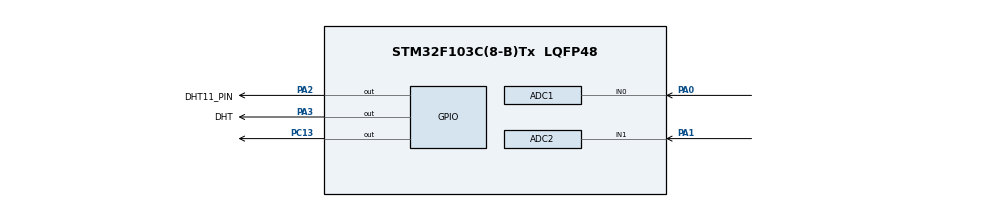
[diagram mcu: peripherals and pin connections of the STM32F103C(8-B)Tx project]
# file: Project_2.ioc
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ADC1.Channel-4\#ChannelRegularConversion=ADC_CHANNEL_0
ADC1.NbrOfConversionFlag=1
ADC1.Rank-4\#ChannelRegularConversion=1
ADC1.SamplingTime-4\#ChannelRegularConversion=ADC_SAMPLETIME_13CYCLES_5
ADC1.master=1
ADC2.Channel-1\#ChannelRegularConversion=ADC_CHANNEL_1
ADC2.NbrOfConversionFlag=1
ADC2.Rank-1\#ChannelRegularConversion=1
ADC2.SamplingTime-1\#ChannelRegularConversion=ADC_SAMPLETIME_13CYCLES_5
Mcu.Family=STM32F1
Mcu.Name=STM32F103C(8-B)Tx
Mcu.Package=LQFP48
NVIC.PriorityGroup=NVIC_PRIORITYGROUP_4
PA0-WKUP.Signal=ADCx_IN0
PA1.Signal=ADCx_IN1
PA13.Mode=Serial_Wire
PA13.Signal=SYS_JTMS-SWDIO
PA14.Mode=Serial_Wire
PA14.Signal=SYS_JTCK-SWCLK
PA2.GPIO_Label=DHT11_PIN
PA2.Signal=GPIO_Output
PA3.GPIO_Label=DHT
PA3.Signal=GPIO_Output
PC13-TAMPER-RTC.Signal=GPIO_Output
ProjectManager.HeapSize=0x200
ProjectManager.StackSize=0x400
ProjectManager.TargetToolchain=STM32CubeIDE
RCC.APB1Freq_Value=8000000
RCC.APB2Freq_Value=8000000
SH.ADCx_IN0.0=ADC1_IN0,IN0
SH.ADCx_IN1.0=ADC2_IN1,IN1
TIM1.Prescaler=8
TIM2.Prescaler=8
TIM3.Prescaler=7
TIM4.Prescaler=7
VP_TIM1_VS_ClockSourceINT.Mode=Internal
VP_TIM2_VS_ClockSourceINT.Mode=Internal
VP_TIM3_VS_ClockSourceINT.Mode=Internal
VP_TIM4_VS_ClockSourceINT.Mode=Internal
board=custom

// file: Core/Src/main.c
/* USER CODE BEGIN Header */
/**
 ******************************************************************************
 * @file           : main.c
 * @brief          : Main program body
 ******************************************************************************
 * @attention
 *
 * Copyright (c) 2024 STMicroelectronics.
 * All rights reserved.
 *
 * This software is licensed under terms that can be found in the LICENSE file
 * in the root directory of this software component.
 * If no LICENSE file comes with this software, it is provided AS-IS.
 *
 ******************************************************************************
 */
/* USER CODE END Header */
#include "main.h"

/* USER CODE BEGIN Includes */
#include "gpio.h"
#include "timer.h"
#include "DHT.h"
/* USER CODE END Includes */

ADC_HandleTypeDef hadc1;
ADC_HandleTypeDef hadc2;

TIM_HandleTypeDef htim1;
TIM_HandleTypeDef htim2;
TIM_HandleTypeDef htim3;
TIM_HandleTypeDef htim4;

void SystemClock_Config(void);
static void MX_GPIO_Init(void);
static void MX_TIM4_Init(void);
static void MX_TIM1_Init(void);
static void MX_TIM2_Init(void);
static void MX_TIM3_Init(void);
static void MX_ADC1_Init(void);
static void MX_ADC2_Init(void);
/* USER CODE BEGIN PFP */

//uint16_t adc_read(ADC_HandleTypeDef *Adc_x){
//	  HAL_ADC_Start(&hadc1); // start the adc
//
//	  HAL_ADC_PollForConversion(&hadc1, 100); // poll for conversion
//
//	  adc_val = HAL_ADC_GetValue(&hadc1); // get the adc value
//
//	  HAL_ADC_Stop(&hadc1); // stop adc
//}

/* USER CODE END PFP */

/* USER CODE BEGIN 0 */

uint32_t value[3];
dht11_t dht;
float humi, temp;
//void Read_DataDht(){
//	DHT_GetData(&Dht11Data);
//	temp = Dht11Data.Temperature;
//	humi = Dht11Data.Humidity;
//}
/* USER CODE END 0 */

int main(void)
{

  /* MCU Configuration--------------------------------------------------------*/

  /* Reset of all peripherals, Initializes the Flash interface and the Systick. */
  HAL_Init();

  /* Configure the system clock */
  SystemClock_Config();

  /* Initialize all configured peripherals */
  MX_GPIO_Init();
  MX_TIM4_Init();
  MX_TIM1_Init();
  MX_TIM2_Init();
  MX_TIM3_Init();
  MX_ADC1_Init();
  MX_ADC2_Init();
  /* USER CODE BEGIN 2 */
	HAL_TIM_Base_Start(&htim4);
	HAL_TIM_Base_Start(&htim3);
//	HAL_TIM_Base_Start(&htim2);
//	HAL_TIM_Base_Start(&htim1);
  	timer_init(&htim3);

	init_dht11(&dht, &htim4, GPIOA, DHT_Pin);
	struct PinSetup test;
//
	test.GPIOx = GPIOC;
	test.Pin = GPIO_PIN_13;
	pinMode(&test, OUTPUT);
//	timer_init(&htim4);

  /* USER CODE END 2 */

  /* Infinite loop */
  /* USER CODE BEGIN WHILE */
	uint16_t tick = HAL_GetTick();
	while (1) {
		uint16_t current_tick = HAL_GetTick();
		if(current_tick - tick >= 1000){
		readDHT11(&dht);

		current_tick = tick;
		}
    /* USER CODE END WHILE */

	}
}

void SystemClock_Config(void)
{
  RCC_OscInitTypeDef RCC_OscInitStruct = {0};
  RCC_ClkInitTypeDef RCC_ClkInitStruct = {0};
  RCC_PeriphCLKInitTypeDef PeriphClkInit = {0};

  /** Initializes the RCC Oscillators according to the specified parameters
  * in the RCC_OscInitTypeDef structure.
  */
  RCC_OscInitStruct.OscillatorType = RCC_OSCILLATORTYPE_HSI;
  RCC_OscInitStruct.HSIState = RCC_HSI_ON;
  RCC_OscInitStruct.HSICalibrationValue = RCC_HSICALIBRATION_DEFAULT;
  RCC_OscInitStruct.PLL.PLLState = RCC_PLL_NONE;
  if (HAL_RCC_OscConfig(&RCC_OscInitStruct) != HAL_OK)
  {
    Error_Handler();
  }

  /** Initializes the CPU, AHB and APB buses clocks
  */
  RCC_ClkInitStruct.ClockType = RCC_CLOCKTYPE_HCLK|RCC_CLOCKTYPE_SYSCLK
                              |RCC_CLOCKTYPE_PCLK1|RCC_CLOCKTYPE_PCLK2;
  RCC_ClkInitStruct.SYSCLKSource = RCC_SYSCLKSOURCE_HSI;
  RCC_ClkInitStruct.AHBCLKDivider = RCC_SYSCLK_DIV1;
  RCC_ClkInitStruct.APB1CLKDivider = RCC_HCLK_DIV1;
  RCC_ClkInitStruct.APB2CLKDivider = RCC_HCLK_DIV1;

  if (HAL_RCC_ClockConfig(&RCC_ClkInitStruct, FLASH_LATENCY_0) != HAL_OK)
  {
    Error_Handler();
  }
  PeriphClkInit.PeriphClockSelection = RCC_PERIPHCLK_ADC;
  PeriphClkInit.AdcClockSelection = RCC_ADCPCLK2_DIV2;
  if (HAL_RCCEx_PeriphCLKConfig(&PeriphClkInit) != HAL_OK)
  {
    Error_Handler();
  }
}

static void MX_ADC1_Init(void)
{

  ADC_ChannelConfTypeDef sConfig = {0};

  /** Common config
  */
  hadc1.Instance = ADC1;
  hadc1.Init.ScanConvMode = ADC_SCAN_DISABLE;
  hadc1.Init.ContinuousConvMode = DISABLE;
  hadc1.Init.DiscontinuousConvMode = DISABLE;
  hadc1.Init.ExternalTrigConv = ADC_SOFTWARE_START;
  hadc1.Init.DataAlign = ADC_DATAALIGN_RIGHT;
  hadc1.Init.NbrOfConversion = 1;
  if (HAL_ADC_Init(&hadc1) != HAL_OK)
  {
    Error_Handler();
  }

  /** Configure Regular Channel
  */
  sConfig.Channel = ADC_CHANNEL_0;
  sConfig.Rank = ADC_REGULAR_RANK_1;
  sConfig.SamplingTime = ADC_SAMPLETIME_13CYCLES_5;
  if (HAL_ADC_ConfigChannel(&hadc1, &sConfig) != HAL_OK)
  {
    Error_Handler();
  }

}

static void MX_ADC2_Init(void)
{

  ADC_ChannelConfTypeDef sConfig = {0};

  /** Common config
  */
  hadc2.Instance = ADC2;
  hadc2.Init.ScanConvMode = ADC_SCAN_DISABLE;
  hadc2.Init.ContinuousConvMode = DISABLE;
  hadc2.Init.DiscontinuousConvMode = DISABLE;
  hadc2.Init.ExternalTrigConv = ADC_SOFTWARE_START;
  hadc2.Init.DataAlign = ADC_DATAALIGN_RIGHT;
  hadc2.Init.NbrOfConversion = 1;
  if (HAL_ADC_Init(&hadc2) != HAL_OK)
  {
    Error_Handler();
  }

  /** Configure Regular Channel
  */
  sConfig.Channel = ADC_CHANNEL_1;
  sConfig.Rank = ADC_REGULAR_RANK_1;
  sConfig.SamplingTime = ADC_SAMPLETIME_13CYCLES_5;
  if (HAL_ADC_ConfigChannel(&hadc2, &sConfig) != HAL_OK)
  {
    Error_Handler();
  }

}

static void MX_TIM1_Init(void)
{

  TIM_ClockConfigTypeDef sClockSourceConfig = {0};
  TIM_MasterConfigTypeDef sMasterConfig = {0};

  htim1.Instance = TIM1;
  htim1.Init.Prescaler = 8;
  htim1.Init.CounterMode = TIM_COUNTERMODE_UP;
  htim1.Init.Period = 65535;
  htim1.Init.ClockDivision = TIM_CLOCKDIVISION_DIV1;
  htim1.Init.RepetitionCounter = 0;
  htim1.Init.AutoReloadPreload = TIM_AUTORELOAD_PRELOAD_DISABLE;
  if (HAL_TIM_Base_Init(&htim1) != HAL_OK)
  {
    Error_Handler();
  }
  sClockSourceConfig.ClockSource = TIM_CLOCKSOURCE_INTERNAL;
  if (HAL_TIM_ConfigClockSource(&htim1, &sClockSourceConfig) != HAL_OK)
  {
    Error_Handler();
  }
  sMasterConfig.MasterOutputTrigger = TIM_TRGO_RESET;
  sMasterConfig.MasterSlaveMode = TIM_MASTERSLAVEMODE_DISABLE;
  if (HAL_TIMEx_MasterConfigSynchronization(&htim1, &sMasterConfig) != HAL_OK)
  {
    Error_Handler();
  }

}

static void MX_TIM2_Init(void)
{

  TIM_ClockConfigTypeDef sClockSourceConfig = {0};
  TIM_MasterConfigTypeDef sMasterConfig = {0};

  htim2.Instance = TIM2;
  htim2.Init.Prescaler = 8;
  htim2.Init.CounterMode = TIM_COUNTERMODE_UP;
  htim2.Init.Period = 65535;
  htim2.Init.ClockDivision = TIM_CLOCKDIVISION_DIV1;
  htim2.Init.AutoReloadPreload = TIM_AUTORELOAD_PRELOAD_DISABLE;
  if (HAL_TIM_Base_Init(&htim2) != HAL_OK)
  {
    Error_Handler();
  }
  sClockSourceConfig.ClockSource = TIM_CLOCKSOURCE_INTERNAL;
  if (HAL_TIM_ConfigClockSource(&htim2, &sClockSourceConfig) != HAL_OK)
  {
    Error_Handler();
  }
  sMasterConfig.MasterOutputTrigger = TIM_TRGO_RESET;
  sMasterConfig.MasterSlaveMode = TIM_MASTERSLAVEMODE_DISABLE;
  if (HAL_TIMEx_MasterConfigSynchronization(&htim2, &sMasterConfig) != HAL_OK)
  {
    Error_Handler();
  }

}

static void MX_TIM3_Init(void)
{

  TIM_ClockConfigTypeDef sClockSourceConfig = {0};
  TIM_MasterConfigTypeDef sMasterConfig = {0};

  htim3.Instance = TIM3;
  htim3.Init.Prescaler = 7;
  htim3.Init.CounterMode = TIM_COUNTERMODE_UP;
  htim3.Init.Period = 65535;
  htim3.Init.ClockDivision = TIM_CLOCKDIVISION_DIV1;
  htim3.Init.AutoReloadPreload = TIM_AUTORELOAD_PRELOAD_DISABLE;
  if (HAL_TIM_Base_Init(&htim3) != HAL_OK)
  {
    Error_Handler();
  }
  sClockSourceConfig.ClockSource = TIM_CLOCKSOURCE_INTERNAL;
  if (HAL_TIM_ConfigClockSource(&htim3, &sClockSourceConfig) != HAL_OK)
  {
    Error_Handler();
  }
  sMasterConfig.MasterOutputTrigger = TIM_TRGO_RESET;
  sMasterConfig.MasterSlaveMode = TIM_MASTERSLAVEMODE_DISABLE;
  if (HAL_TIMEx_MasterConfigSynchronization(&htim3, &sMasterConfig) != HAL_OK)
  {
    Error_Handler();
  }

}

static void MX_TIM4_Init(void)
{

  TIM_ClockConfigTypeDef sClockSourceConfig = {0};
  TIM_MasterConfigTypeDef sMasterConfig = {0};

  htim4.Instance = TIM4;
  htim4.Init.Prescaler = 7;
  htim4.Init.CounterMode = TIM_COUNTERMODE_UP;
  htim4.Init.Period = 65535;
  htim4.Init.ClockDivision = TIM_CLOCKDIVISION_DIV1;
  htim4.Init.AutoReloadPreload = TIM_AUTORELOAD_PRELOAD_DISABLE;
  if (HAL_TIM_Base_Init(&htim4) != HAL_OK)
  {
    Error_Handler();
  }
  sClockSourceConfig.ClockSource = TIM_CLOCKSOURCE_INTERNAL;
  if (HAL_TIM_ConfigClockSource(&htim4, &sClockSourceConfig) != HAL_OK)
  {
    Error_Handler();
  }
  sMasterConfig.MasterOutputTrigger = TIM_TRGO_RESET;
  sMasterConfig.MasterSlaveMode = TIM_MASTERSLAVEMODE_DISABLE;
  if (HAL_TIMEx_MasterConfigSynchronization(&htim4, &sMasterConfig) != HAL_OK)
  {
    Error_Handler();
  }

}

static void MX_GPIO_Init(void)
{
  GPIO_InitTypeDef GPIO_InitStruct = {0};

  /* GPIO Ports Clock Enable */
  __HAL_RCC_GPIOC_CLK_ENABLE();
  __HAL_RCC_GPIOA_CLK_ENABLE();

  /*Configure GPIO pin Output Level */
  HAL_GPIO_WritePin(GPIOC, GPIO_PIN_13, GPIO_PIN_RESET);

  /*Configure GPIO pin Output Level */
  HAL_GPIO_WritePin(GPIOA, DHT11_PIN_Pin|DHT_Pin, GPIO_PIN_RESET);

  /*Configure GPIO pin : PC13 */
  GPIO_InitStruct.Pin = GPIO_PIN_13;
  GPIO_InitStruct.Mode = GPIO_MODE_OUTPUT_PP;
  GPIO_InitStruct.Pull = GPIO_NOPULL;
  GPIO_InitStruct.Speed = GPIO_SPEED_FREQ_LOW;
  HAL_GPIO_Init(GPIOC, &GPIO_InitStruct);

  /*Configure GPIO pins : DHT11_PIN_Pin DHT_Pin */
  GPIO_InitStruct.Pin = DHT11_PIN_Pin|DHT_Pin;
  GPIO_InitStruct.Mode = GPIO_MODE_OUTPUT_PP;
  GPIO_InitStruct.Pull = GPIO_NOPULL;
  GPIO_InitStruct.Speed = GPIO_SPEED_FREQ_LOW;
  HAL_GPIO_Init(GPIOA, &GPIO_InitStruct);

}

void Error_Handler(void)
{
	__disable_irq();
	while (1) {
	}
}
